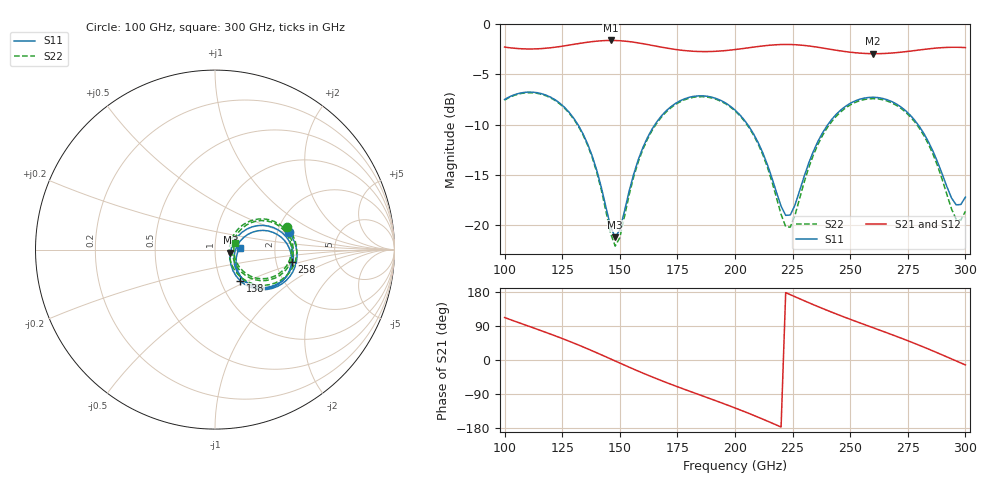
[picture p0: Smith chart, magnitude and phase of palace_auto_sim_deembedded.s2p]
! Created with skrf 1.11.0 (http://scikit-rf.org).
# GHz S DB R 50.0
!freq dBS11 angS11 dBS21 angS21 dBS12 angS12 dBS22 angS22
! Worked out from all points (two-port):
!   101 points, 100 GHz to 300 GHz, reference 50 ohm
!   highest |S21| = -1.63 dB at 146 GHz (marker M1); lowest = -2.9 dB at 260 GHz (marker M2)
!   |S21| within 3 dB of the highest: start of sweep to end of sweep
!   lowest |S11| = -21.2 dB at 148 GHz (marker M3), VSWR 1.19, Z = 59.3 - j2.03 ohm
!   |S11| at or under -10 dB: 131.8 GHz to 165.3 GHz (33.43 GHz wide, 22.5 % of centre); 205.5 GHz to 240.3 GHz (34.77 GHz wide, 15.6 % of centre); 279.4 GHz to end of sweep
!   |S22| runs from -22.1 to -6.8 dB; largest |S21 - S12| = 8.8e-14
!   S11 on the Smith chart (normalised r, x): 100 GHz: 2.31, +0.54; 138 GHz: 1.23, -0.45; 258 GHz: 2.44, -0.40; 300 GHz: 1.32, +0.03
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100  -7.50 13.1  -2.29 112.1  -2.29 112.1  -7.55 17.3
118  -7.07 -19.6  -2.40 72.7  -2.40 72.7  -7.13 -14.9
134  -10.90 -47.1  -1.87 34.7  -1.87 34.7  -11.01 -42.4
138  -13.10 -51.1  -1.75 24.3  -1.75 24.3  -13.25 -46.7
146  -20.15 -31.4  -1.63 2.8  -1.63 2.8  -20.82 -27.5
148  -21.19 -11.3  -1.64 -2.6  -1.64 -2.6  -22.08 -5.4
158  -13.49 32.8  -1.88 -29.3  -1.88 -29.3  -13.71 41.6
168  -9.15 20.5  -2.29 -54.2  -2.29 -54.2  -9.27 28.9
184  -7.14 -6.9  -2.73 -90.6  -2.73 -90.6  -7.22 1.5
200  -8.55 -33.5  -2.54 -126.6  -2.54 -126.6  -8.63 -25.3
210  -11.76 -46.1  -2.24 -150.9  -2.24 -150.9  -11.90 -38.8
222  -19.01 -18.2  -2.03 177.8  -2.03 177.8  -20.14 -10.8
226  -18.01 10.2  -2.05 167.1  -2.05 167.1  -19.04 22.7
234  -12.66 24.9  -2.24 146.1  -2.24 146.1  -13.02 38.0
246  -8.53 10.7  -2.68 116.7  -2.68 116.7  -8.70 23.0
258  -7.30 -9.0  -2.94 89.5  -2.94 89.5  -7.43 2.9
260  -7.28 -12.3  -2.95 85.0  -2.95 85.0  -7.41 -0.5
268  -7.70 -25.4  -2.88 67.1  -2.88 67.1  -7.83 -13.9
278  -9.56 -40.3  -2.64 43.7  -2.64 43.7  -9.72 -29.7
286  -12.67 -46.8  -2.42 23.7  -2.42 23.7  -12.97 -37.6
296  -17.97 -19.6  -2.31 -2.5  -2.31 -2.5  -19.40 -9.7
300  -17.21 4.0  -2.34 -13.0  -2.34 -13.0  -18.61 19.6
